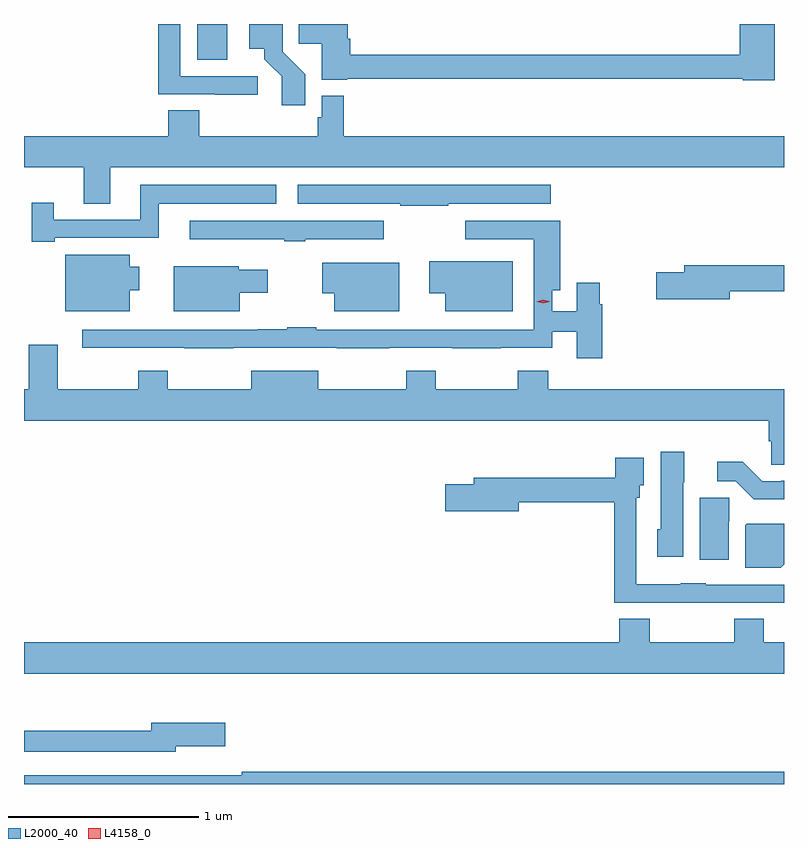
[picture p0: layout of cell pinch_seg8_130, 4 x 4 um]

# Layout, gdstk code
import gdstk
lib = gdstk.Library(unit=1e-6, precision=1e-09)
def R(c, l, rs):  # rectangles x0, y0, x1, y1
    for r in rs: c.add(gdstk.rectangle(r[:2], r[2:], *l))
def P(c, l, *ps):  # polygons
    for p in ps: c.add(gdstk.Polygon(p, *l))
L2000_40 = (2000, 40)
L4158_0 = (4158, 0)

pinch_seg8_130 = lib.new_cell('pinch_seg8_130')
R(pinch_seg8_130, L2000_40, [(841.13,1153.03,841.288,1153.219)])
P(pinch_seg8_130, L2000_40, [(841.7,1152.954),(841.581,1153.073),(841.581,1153.219),(841.404,1153.219),(841.404,1153.088),(841.484,1153.088),(841.484,1153.033),(841.512,1153.005),(841.575,1152.943),(841.575,1152.792),(841.7,1152.792)],
  [(844.169,1153.219),(843.986,1153.219),(843.986,1153.058),(841.937,1153.058),(841.937,1153.142),(841.924,1153.142),(841.924,1153.219),(841.666,1153.219),(841.666,1153.114),(841.787,1153.114),(841.787,1152.926),(841.92,1152.926),(841.92,1152.93),(844.002,1152.93),(844.002,1152.922),(844.169,1152.922)],
  [(841.45,1152.945),(841.041,1152.945),(841.041,1153.219),(840.925,1153.219),(840.925,1152.849),(841.225,1152.849),(841.225,1152.847),(841.45,1152.847)],
  [(840.673,1152.464),(844.219,1152.464),(844.219,1152.628),(841.901,1152.628),(841.901,1152.841),(841.785,1152.841),(841.785,1152.729),(841.765,1152.729),(841.765,1152.628),(841.142,1152.628),(841.142,1152.764),(840.977,1152.764),(840.977,1152.628),(840.219,1152.628),(840.219,1152.464),(840.533,1152.464),(840.533,1152.274),(840.673,1152.274)],
  [(842.453,1152.272),(842.992,1152.272),(842.992,1152.373),(841.659,1152.373),(841.659,1152.272),(842.2,1152.272),(842.2,1152.262),(842.453,1152.262)],
  [(840.382,1152.093),(840.928,1152.093),(840.928,1152.272),(841.546,1152.272),(841.546,1152.373),(840.83,1152.373),(840.83,1152.189),(840.376,1152.189),(840.376,1152.277),(840.259,1152.277),(840.259,1152.073),(840.382,1152.073)],
  [(841.7,1152.087),(842.113,1152.087),(842.113,1152.183),(841.092,1152.183),(841.092,1152.086),(841.588,1152.086),(841.588,1152.075),(841.7,1152.075)],
  [(843.263,1151.744),(843.25,1151.744),(843.25,1151.857),(843.128,1151.857),(843.128,1151.706),(842.998,1151.706),(842.998,1151.819),(843.041,1151.819),(843.041,1152.183),(842.541,1152.183),(842.541,1152.087),(842.901,1152.087),(842.901,1151.61),(841.757,1151.61),(841.757,1151.623),(841.604,1151.623),(841.604,1151.612),(841.45,1151.612),(841.45,1151.61),(840.525,1151.61),(840.525,1151.514),(841.063,1151.514),(841.063,1151.513),(841.319,1151.513),(841.319,1151.514),(841.864,1151.514),(841.864,1151.513),(842.141,1151.513),(842.141,1151.514),(842.473,1151.514),(842.473,1151.513),(842.729,1151.513),(842.729,1151.514),(842.998,1151.514),(842.998,1151.598),(843.128,1151.598),(843.128,1151.46),(843.263,1151.46)],
  [(840.775,1151.819),(840.826,1151.819),(840.826,1151.941),(840.775,1151.941),(840.775,1152.004),(840.437,1152.004),(840.437,1151.708),(840.775,1151.708)],
  [(842.791,1151.971),(842.351,1151.971),(842.351,1151.801),(842.435,1151.801),(842.435,1151.708),(842.791,1151.708)],
  [(842.194,1151.962),(841.788,1151.962),(841.788,1151.801),(841.853,1151.801),(841.853,1151.708),(842.194,1151.708)],
  [(843.934,1151.812),(844.219,1151.812),(844.219,1151.948),(843.695,1151.948),(843.695,1151.912),(843.546,1151.912),(843.546,1151.77),(843.934,1151.77)],
  [(841.354,1151.804),(841.501,1151.804),(841.501,1151.926),(841.35,1151.926),(841.35,1151.944),(841.007,1151.944),(841.007,1151.708),(841.354,1151.708)],
  [(844.219,1151.296),(842.978,1151.296),(842.978,1151.395),(842.818,1151.395),(842.818,1151.296),(842.385,1151.296),(842.385,1151.395),(842.23,1151.395),(842.23,1151.296),(841.768,1151.296),(841.768,1151.395),(841.415,1151.395),(841.415,1151.296),(840.975,1151.296),(840.975,1151.395),(840.82,1151.395),(840.82,1151.296),(840.397,1151.296),(840.397,1151.53),(840.245,1151.53),(840.245,1151.296),(840.219,1151.296),(840.219,1151.132),(844.139,1151.132),(844.139,1151.022),(844.152,1151.022),(844.152,1150.9),(844.219,1150.9)],
  [(843.688,1150.806),(843.694,1150.806),(843.694,1150.969),(843.569,1150.969),(843.569,1150.56),(843.551,1150.56),(843.551,1150.416),(843.688,1150.416)],
  [(843.807,1150.173),(844.219,1150.173),(844.219,1150.269),(843.807,1150.269),(843.807,1150.276),(843.675,1150.276),(843.675,1150.27),(843.441,1150.27),(843.441,1150.725),(843.46,1150.725),(843.46,1150.791),(843.481,1150.791),(843.481,1150.936),(843.332,1150.936),(843.332,1150.831),(842.585,1150.831),(842.585,1150.797),(842.436,1150.797),(842.436,1150.655),(842.824,1150.655),(842.824,1150.702),(843.325,1150.702),(843.325,1150.173),(843.575,1150.173),(843.575,1150.172),(843.807,1150.172)],
  [(844.219,1150.815),(844.204,1150.815),(844.204,1150.812),(844.104,1150.812),(844.002,1150.915),(843.867,1150.915),(843.867,1150.812),(843.966,1150.812),(844.061,1150.718),(844.219,1150.718)],
  [(843.928,1150.602),(843.932,1150.602),(843.932,1150.725),(843.776,1150.725),(843.776,1150.398),(843.928,1150.398)],
  [(844.219,1150.375),(844.219,1150.588),(844.024,1150.588),(844.016,1150.58),(844.016,1150.358),(844.202,1150.358)],
  [(844.219,1149.964),(844.113,1149.964),(844.113,1150.088),(843.958,1150.088),(843.958,1149.964),(843.513,1149.964),(843.513,1150.088),(843.353,1150.088),(843.353,1149.964),(840.219,1149.964),(840.219,1149.8),(844.219,1149.8)],
  [(841.018,1149.419),(841.279,1149.419),(841.279,1149.541),(840.89,1149.541),(840.89,1149.499),(840.219,1149.499),(840.219,1149.39),(841.018,1149.39)],
  [(844.219,1149.284),(841.366,1149.284),(841.366,1149.265),(841.114,1149.265),(841.114,1149.264),(840.219,1149.264),(840.219,1149.219),(844.219,1149.219)])
P(pinch_seg8_130, L4158_0, [(842.951,1151.748),(842.918,1151.757),(842.918,1151.757),(842.918,1151.758),(842.95,1151.768),(842.983,1151.759),(842.983,1151.759),(842.983,1151.758)])

lib.write_gds('pinch_seg8_130.gds')
